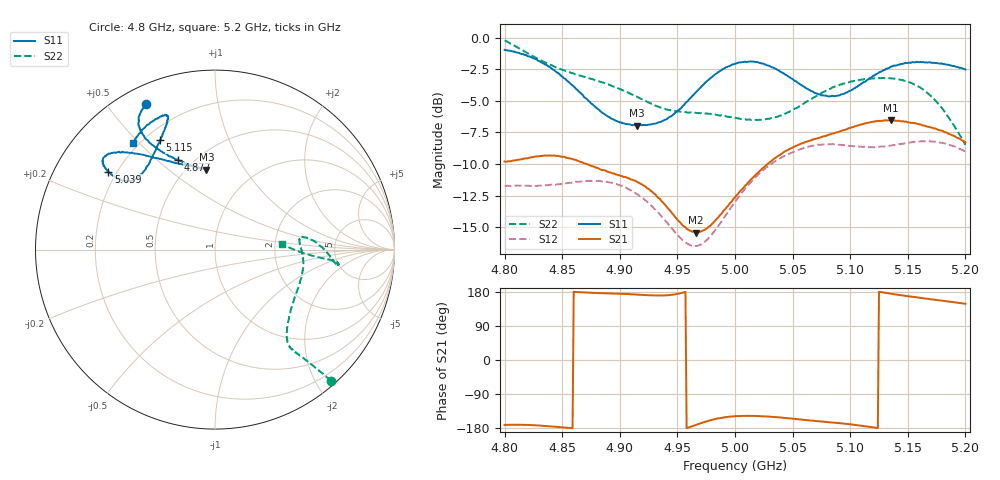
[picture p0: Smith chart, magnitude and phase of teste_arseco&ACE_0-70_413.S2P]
! Network Analyzer HP8722D
! Hewlett-Packard
! Data name: Linha & Wilkinson
! Saver's name: Rodrigo Anjos
! Comments: Teste da utilização de aquisição
! continua pelo VNA HP8722D
! Time and date: 8/5/2025 16:12
!  Frequency  S11  S21  S12  S22
# HZ  S  MA R 50
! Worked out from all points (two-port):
!   401 points, 4.8 GHz to 5.2 GHz, reference 50 ohm
!   highest |S21| = -6.52 dB at 5.135 GHz (marker M1); lowest = -15.4 dB at 4.966 GHz (marker M2)
!   |S21| within 3 dB of the highest: 4.821 GHz to 4.855 GHz (34.46 MHz wide, 0.712 % of centre); 5.035 GHz to end of sweep
!   lowest |S11| = -7.0 dB at 4.915 GHz (marker M3), VSWR 2.63, Z = 30.8 + j34.4 ohm
!   |S11| at or under -10 dB: nowhere
!   |S22| runs from -8.5 to -0.2 dB; largest |S21 - S12| = 0.83
!   S11 on the Smith chart (normalised r, x): 4.8 GHz: 0.08, +0.63; 4.877 GHz: 0.41, +0.59; 5.039 GHz: 0.17, +0.32; 5.115 GHz: 0.26, +0.59; 5.2 GHz: 0.18, +0.48
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4.8e9  0.895 115.3  0.3237 -171.2  0.2596 -86.4  0.9753 -48.4
4.818e9  0.8542 119.7  0.3326 -171.1  0.2598 -82.5  0.8793 -49.4
4.835e9  0.7839 121.9  0.3417 -174.0  0.2606 -77.2  0.7989 -50.5
4.867e9  0.5978 117.0  0.3219 178.4  0.2698 -68.5  0.7055 -52.2
4.877e9  0.5412 112.5  0.3093 177.2  0.2712 -67.6  0.6838 -52.5
4.898e9  0.4672 101.5  0.2868 175.1  0.262 -68.0  0.632 -50.7
4.915e9  0.4483 96.1  0.2687 172.6  0.2407 -69.9  0.5836 -46.2
4.934e9  0.463 100.4  0.2315 170.2  0.202 -70.4  0.5323 -36.4
4.955e9  0.5388 115.6  0.1799 177.8  0.1573 -60.6  0.5084 -22.6
4.966e9  0.6078 122.9  0.1694 -171.6  0.1498 -48.6  0.5039 -15.9
4.978e9  0.6869 129.0  0.1792 -159.7  0.1631 -35.1  0.5001 -10.1
5e9  0.7898 137.0  0.2331 -148.5  0.2243 -22.0  0.4818 -0.3
5.018e9  0.8002 141.3  0.2875 -147.6  0.2813 -19.7  0.4727 5.6
5.039e9  0.7357 143.8  0.3436 -151.5  0.3324 -20.1  0.4912 8.1
5.067e9  0.6136 141.5  0.3949 -159.9  0.3735 -22.5  0.574 3.1
5.088e9  0.5892 132.4  0.422 -165.9  0.3773 -25.7  0.6431 -3.7
5.115e9  0.6817 116.7  0.4604 -175.7  0.3689 -28.6  0.6877 -7.2
5.134e9  0.76 110.3  0.4703 175.8  0.3734 -30.7  0.6916 -6.5
5.135e9  0.7663 110.4  0.4719 175.1  0.3747 -30.7  0.691 -6.4
5.161e9  0.8019 111.9  0.4542 163.9  0.3893 -37.2  0.6346 -5.0
5.179e9  0.7917 118.5  0.429 156.8  0.3838 -43.0  0.5297 -3.3
5.2e9  0.7486 127.6  0.3855 148.4  0.3545 -48.7  0.3768 4.4
